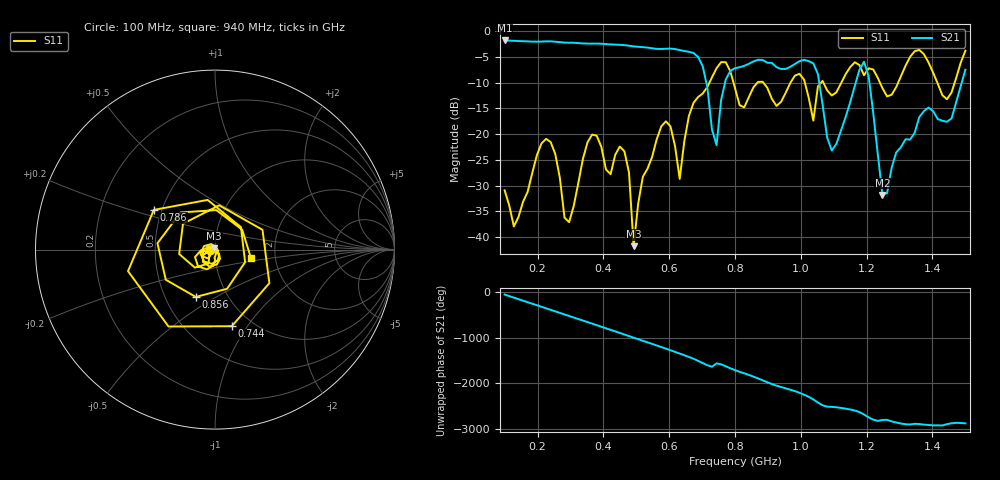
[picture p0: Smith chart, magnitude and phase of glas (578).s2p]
! NanoVNA-App
! Date: 2025-09-25 15:59:58
! Start: 100MHz Stop: 1,5GHz Points: 101
! S-Parameter data: F S11 S21 S12 S22
# Hz S RI R 50
!  Frequency  S11_Real  S11_Imag  S21_Real  S21_Imag  S12_Real  S12_Imag  S22_Real  S22_Imag
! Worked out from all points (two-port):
!   101 points, 100 MHz to 1.5 GHz, reference 50 ohm
!   highest |S21| = -1.80 dB at 100 MHz (marker M1); lowest = -31.8 dB at 1.248 GHz (marker M2)
!   |S21| within 3 dB of the highest: start of sweep to 684.3 MHz
!   lowest |S11| = -41.8 dB at 492 MHz (marker M3), VSWR 1.02, Z = 49.5 + j0.624 ohm
!   |S11| at or under -10 dB: start of sweep to 722.3 MHz; 795.4 MHz to 868.1 MHz (72.71 MHz wide, 8.74 % of centre); 886.1 MHz to 968.6 MHz (82.53 MHz wide, 8.9 % of centre) (the widest 3 of 7)
!   S12 and S22 are empty: the file has one direction only
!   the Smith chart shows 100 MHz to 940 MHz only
!   S11 on the Smith chart (normalised r, x): 100 MHz: 0.95, -0.01; 744 MHz: 0.81, -0.85; 786 MHz: 0.45, +0.24; 856 MHz: 0.71, -0.41; 940 MHz: 1.49, -0.15
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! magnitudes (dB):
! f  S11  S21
! 100 MHz  -30.9  -1.8
! 128 MHz  -37.9  -1.9
! 226 MHz  -20.9  -2.0
! 296 MHz  -37.1  -2.2
! 338 MHz  -24.8  -2.4
! 464 MHz  -23.3  -2.7
! 492 MHz  -41.8  -2.9
! 576 MHz  -18.5  -3.5
! 632 MHz  -28.7  -3.7
! 702 MHz  -12.1  -6.8
! 744 MHz  -7.2  -22.1
! 786 MHz  -7.8  -7.7
! 800 MHz  -11.1  -7.2
! 856 MHz  -10.9  -5.9
! 940 MHz  -13.7  -7.3
! 996 MHz  -8.3  -5.8
! 1.038 GHz  -17.4  -6.2
! 1.094 GHz  -12.5  -23.2
! 1.192 GHz  -8.6  -5.9
! 1.248 GHz  -11.1  -31.8
! 1.276 GHz  -12.4  -26.5
! 1.5 GHz  -3.8  -7.5
